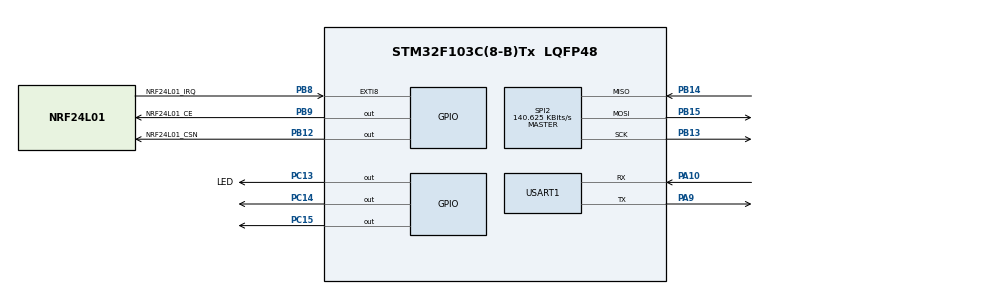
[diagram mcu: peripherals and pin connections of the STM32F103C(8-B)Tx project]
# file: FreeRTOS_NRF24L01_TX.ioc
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FREERTOS.Tasks01=defaultTask,24,128,StartDefaultTask,Default,NULL,Dynamic,NULL,NULL
FREERTOS.configENABLE_BACKWARD_COMPATIBILITY=0
FREERTOS.configGENERATE_RUN_TIME_STATS=1
FREERTOS.configRECORD_STACK_HIGH_ADDRESS=1
FREERTOS.configUSE_NEWLIB_REENTRANT=1
FREERTOS.configUSE_STATS_FORMATTING_FUNCTIONS=0
FREERTOS.configUSE_TICKLESS_IDLE=2
Mcu.Family=STM32F1
Mcu.Name=STM32F103C(8-B)Tx
Mcu.Package=LQFP48
NVIC.EXTI9_5_IRQn=true\:5\:0\:false\:false\:true\:true\:true\:true
NVIC.PriorityGroup=NVIC_PRIORITYGROUP_4
NVIC.TIM1_UP_IRQn=true\:0\:0\:false\:false\:true\:false\:false\:true
NVIC.TimeBase=TIM1_UP_IRQn
NVIC.TimeBaseIP=TIM1
PA10.Mode=Asynchronous
PA10.Signal=USART1_RX
PA13.Mode=Trace_Asynchronous_SW
PA13.Signal=SYS_JTMS-SWDIO
PA14.Mode=Trace_Asynchronous_SW
PA14.Signal=SYS_JTCK-SWCLK
PA9.Mode=Asynchronous
PA9.Signal=USART1_TX
PB12.GPIO_Label=NRF24L01_CSN
PB12.PinState=GPIO_PIN_SET
PB12.Signal=GPIO_Output
PB13.Mode=Full_Duplex_Master
PB13.Signal=SPI2_SCK
PB14.Mode=Full_Duplex_Master
PB14.Signal=SPI2_MISO
PB15.Mode=Full_Duplex_Master
PB15.Signal=SPI2_MOSI
PB3.Mode=Trace_Asynchronous_SW
PB3.Signal=SYS_JTDO-TRACESWO
PB8.GPIO_Label=NRF24L01_IRQ
PB8.GPIO_ModeDefaultEXTI=GPIO_MODE_IT_FALLING
PB8.Signal=GPXTI8
PB9.GPIO_Label=NRF24L01_CE
PB9.GPIO_Speed=GPIO_SPEED_FREQ_MEDIUM
PB9.PinState=GPIO_PIN_RESET
PB9.Signal=GPIO_Output
PC13-TAMPER-RTC.GPIO_Label=LED
PC13-TAMPER-RTC.PinState=GPIO_PIN_RESET
PC13-TAMPER-RTC.Signal=GPIO_Output
PC14-OSC32_IN.Signal=GPIO_Output
PC15-OSC32_OUT.Signal=GPIO_Output
PD0-OSC_IN.Mode=HSE-External-Oscillator
PD0-OSC_IN.Signal=RCC_OSC_IN
PD1-OSC_OUT.Mode=HSE-External-Oscillator
PD1-OSC_OUT.Signal=RCC_OSC_OUT
ProjectManager.HeapSize=0x200
ProjectManager.StackSize=0x400
ProjectManager.TargetToolchain=STM32CubeIDE
RCC.AHBFreq_Value=72000000
RCC.APB1CLKDivider=RCC_HCLK_DIV2
RCC.APB1Freq_Value=36000000
RCC.APB1TimFreq_Value=72000000
RCC.APB2Freq_Value=72000000
RCC.APB2TimFreq_Value=72000000
RCC.HCLKFreq_Value=72000000
RCC.PLLMUL=RCC_PLL_MUL9
RCC.PLLSourceVirtual=RCC_PLLSOURCE_HSE
RCC.SYSCLKFreq_VALUE=72000000
RCC.SYSCLKSource=RCC_SYSCLKSOURCE_PLLCLK
RCC.USBFreq_Value=72000000
SPI2.BaudRatePrescaler=SPI_BAUDRATEPRESCALER_256
SPI2.CalculateBaudRate=140.625 KBits/s
SPI2.Direction=SPI_DIRECTION_2LINES
SPI2.Mode=SPI_MODE_MASTER
SPI2.VirtualType=VM_MASTER
USART1.VirtualMode=VM_ASYNC
VP_FREERTOS_VS_CMSIS_V2.Mode=CMSIS_V2
VP_SYS_VS_tim1.Mode=TIM1
board=custom

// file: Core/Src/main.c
/* USER CODE BEGIN Header */
/**
  ******************************************************************************
  * @file           : main.c
  * @brief          : Main program body
  ******************************************************************************
  * @attention
  *
  * <h2><center>&copy; Copyright (c) 2020 STMicroelectronics.
  * All rights reserved.</center></h2>
  *
  * This software component is licensed by ST under BSD 3-Clause license,
  * the "License"; You may not use this file except in compliance with the
  * License. You may obtain a copy of the License at:
  *                        opensource.org/licenses/BSD-3-Clause
  *
  ******************************************************************************
  */
/* USER CODE END Header */

#include "main.h"
#include "cmsis_os.h"

/* Definitions for defaultTask */
osThreadId_t defaultTaskHandle;
const osThreadAttr_t defaultTask_attributes = {
  .name = "defaultTask",
  .priority = (osPriority_t) osPriorityNormal,
  .stack_size = 128 * 4
};

void SystemClock_Config(void);
static void MX_GPIO_Init(void);
static void MX_SPI2_Init(void);
static void MX_USART1_UART_Init(void);
void StartDefaultTask(void *argument);

int main(void)
{

  /* MCU Configuration--------------------------------------------------------*/

  /* Reset of all peripherals, Initializes the Flash interface and the Systick. */
  HAL_Init();

  /* Configure the system clock */
  SystemClock_Config();

  /* USER CODE BEGIN SysInit */
  extern void rtos_init(void);
  rtos_init();

  /* USER CODE END SysInit */

  /* Initialize all configured peripherals */
  MX_GPIO_Init();
  MX_SPI2_Init();
  MX_USART1_UART_Init();

  /* Init scheduler */
  osKernelInitialize();

  /* Create the thread(s) */
  /* creation of defaultTask */
  defaultTaskHandle = osThreadNew(StartDefaultTask, NULL, &defaultTask_attributes);

  /* Start scheduler */
  osKernelStart();

  /* We should never get here as control is now taken by the scheduler */
  /* Infinite loop */
  while (1)
  {

  }
}

void SystemClock_Config(void)
{
  LL_FLASH_SetLatency(LL_FLASH_LATENCY_2);

   if(LL_FLASH_GetLatency() != LL_FLASH_LATENCY_2)
  {
    Error_Handler();
  }
  LL_RCC_HSE_Enable();

   /* Wait till HSE is ready */
  while(LL_RCC_HSE_IsReady() != 1)
  {

  }
  LL_RCC_PLL_ConfigDomain_SYS(LL_RCC_PLLSOURCE_HSE_DIV_1, LL_RCC_PLL_MUL_9);
  LL_RCC_PLL_Enable();

   /* Wait till PLL is ready */
  while(LL_RCC_PLL_IsReady() != 1)
  {

  }
  LL_RCC_SetAHBPrescaler(LL_RCC_SYSCLK_DIV_1);
  LL_RCC_SetAPB1Prescaler(LL_RCC_APB1_DIV_2);
  LL_RCC_SetAPB2Prescaler(LL_RCC_APB2_DIV_1);
  LL_RCC_SetSysClkSource(LL_RCC_SYS_CLKSOURCE_PLL);

   /* Wait till System clock is ready */
  while(LL_RCC_GetSysClkSource() != LL_RCC_SYS_CLKSOURCE_STATUS_PLL)
  {

  }
  LL_SetSystemCoreClock(72000000);

   /* Update the time base */
  if (HAL_InitTick (TICK_INT_PRIORITY) != HAL_OK)
  {
    Error_Handler();
  };
}

static void MX_SPI2_Init(void)
{

  LL_SPI_InitTypeDef SPI_InitStruct = {0};

  LL_GPIO_InitTypeDef GPIO_InitStruct = {0};

  /* Peripheral clock enable */
  LL_APB1_GRP1_EnableClock(LL_APB1_GRP1_PERIPH_SPI2);

  LL_APB2_GRP1_EnableClock(LL_APB2_GRP1_PERIPH_GPIOB);
  /**SPI2 GPIO Configuration
  PB13   ------> SPI2_SCK
  PB14   ------> SPI2_MISO
  PB15   ------> SPI2_MOSI
  */
  GPIO_InitStruct.Pin = LL_GPIO_PIN_13|LL_GPIO_PIN_15;
  GPIO_InitStruct.Mode = LL_GPIO_MODE_ALTERNATE;
  GPIO_InitStruct.Speed = LL_GPIO_SPEED_FREQ_HIGH;
  GPIO_InitStruct.OutputType = LL_GPIO_OUTPUT_PUSHPULL;
  LL_GPIO_Init(GPIOB, &GPIO_InitStruct);

  GPIO_InitStruct.Pin = LL_GPIO_PIN_14;
  GPIO_InitStruct.Mode = LL_GPIO_MODE_FLOATING;
  LL_GPIO_Init(GPIOB, &GPIO_InitStruct);

  /* SPI2 parameter configuration*/
  SPI_InitStruct.TransferDirection = LL_SPI_FULL_DUPLEX;
  SPI_InitStruct.Mode = LL_SPI_MODE_MASTER;
  SPI_InitStruct.DataWidth = LL_SPI_DATAWIDTH_8BIT;
  SPI_InitStruct.ClockPolarity = LL_SPI_POLARITY_LOW;
  SPI_InitStruct.ClockPhase = LL_SPI_PHASE_1EDGE;
  SPI_InitStruct.NSS = LL_SPI_NSS_SOFT;
  SPI_InitStruct.BaudRate = LL_SPI_BAUDRATEPRESCALER_DIV256;
  SPI_InitStruct.BitOrder = LL_SPI_MSB_FIRST;
  SPI_InitStruct.CRCCalculation = LL_SPI_CRCCALCULATION_DISABLE;
  SPI_InitStruct.CRCPoly = 10;
  LL_SPI_Init(SPI2, &SPI_InitStruct);

}

static void MX_USART1_UART_Init(void)
{

  LL_USART_InitTypeDef USART_InitStruct = {0};

  LL_GPIO_InitTypeDef GPIO_InitStruct = {0};

  /* Peripheral clock enable */
  LL_APB2_GRP1_EnableClock(LL_APB2_GRP1_PERIPH_USART1);

  LL_APB2_GRP1_EnableClock(LL_APB2_GRP1_PERIPH_GPIOA);
  /**USART1 GPIO Configuration
  PA9   ------> USART1_TX
  PA10   ------> USART1_RX
  */
  GPIO_InitStruct.Pin = LL_GPIO_PIN_9;
  GPIO_InitStruct.Mode = LL_GPIO_MODE_ALTERNATE;
  GPIO_InitStruct.Speed = LL_GPIO_SPEED_FREQ_HIGH;
  GPIO_InitStruct.OutputType = LL_GPIO_OUTPUT_PUSHPULL;
  LL_GPIO_Init(GPIOA, &GPIO_InitStruct);

  GPIO_InitStruct.Pin = LL_GPIO_PIN_10;
  GPIO_InitStruct.Mode = LL_GPIO_MODE_FLOATING;
  LL_GPIO_Init(GPIOA, &GPIO_InitStruct);

  USART_InitStruct.BaudRate = 115200;
  USART_InitStruct.DataWidth = LL_USART_DATAWIDTH_8B;
  USART_InitStruct.StopBits = LL_USART_STOPBITS_1;
  USART_InitStruct.Parity = LL_USART_PARITY_NONE;
  USART_InitStruct.TransferDirection = LL_USART_DIRECTION_TX_RX;
  USART_InitStruct.HardwareFlowControl = LL_USART_HWCONTROL_NONE;
  USART_InitStruct.OverSampling = LL_USART_OVERSAMPLING_16;
  LL_USART_Init(USART1, &USART_InitStruct);
  LL_USART_ConfigAsyncMode(USART1);
  LL_USART_Enable(USART1);

}

static void MX_GPIO_Init(void)
{
  LL_EXTI_InitTypeDef EXTI_InitStruct = {0};
  LL_GPIO_InitTypeDef GPIO_InitStruct = {0};

  /* GPIO Ports Clock Enable */
  LL_APB2_GRP1_EnableClock(LL_APB2_GRP1_PERIPH_GPIOC);
  LL_APB2_GRP1_EnableClock(LL_APB2_GRP1_PERIPH_GPIOD);
  LL_APB2_GRP1_EnableClock(LL_APB2_GRP1_PERIPH_GPIOB);
  LL_APB2_GRP1_EnableClock(LL_APB2_GRP1_PERIPH_GPIOA);

  /**/
  LL_GPIO_ResetOutputPin(GPIOC, LED_Pin|LL_GPIO_PIN_14|LL_GPIO_PIN_15);

  /**/
  LL_GPIO_ResetOutputPin(NRF24L01_CE_GPIO_Port, NRF24L01_CE_Pin);

  /**/
  LL_GPIO_SetOutputPin(NRF24L01_CSN_GPIO_Port, NRF24L01_CSN_Pin);

  /**/
  GPIO_InitStruct.Pin = LED_Pin|LL_GPIO_PIN_14|LL_GPIO_PIN_15;
  GPIO_InitStruct.Mode = LL_GPIO_MODE_OUTPUT;
  GPIO_InitStruct.Speed = LL_GPIO_SPEED_FREQ_LOW;
  GPIO_InitStruct.OutputType = LL_GPIO_OUTPUT_PUSHPULL;
  LL_GPIO_Init(GPIOC, &GPIO_InitStruct);

  /**/
  GPIO_InitStruct.Pin = NRF24L01_CSN_Pin;
  GPIO_InitStruct.Mode = LL_GPIO_MODE_OUTPUT;
  GPIO_InitStruct.Speed = LL_GPIO_SPEED_FREQ_LOW;
  GPIO_InitStruct.OutputType = LL_GPIO_OUTPUT_PUSHPULL;
  LL_GPIO_Init(NRF24L01_CSN_GPIO_Port, &GPIO_InitStruct);

  /**/
  GPIO_InitStruct.Pin = NRF24L01_CE_Pin;
  GPIO_InitStruct.Mode = LL_GPIO_MODE_OUTPUT;
  GPIO_InitStruct.Speed = LL_GPIO_SPEED_FREQ_MEDIUM;
  GPIO_InitStruct.OutputType = LL_GPIO_OUTPUT_PUSHPULL;
  LL_GPIO_Init(NRF24L01_CE_GPIO_Port, &GPIO_InitStruct);

  /**/
  LL_GPIO_AF_SetEXTISource(LL_GPIO_AF_EXTI_PORTB, LL_GPIO_AF_EXTI_LINE8);

  /**/
  EXTI_InitStruct.Line_0_31 = LL_EXTI_LINE_8;
  EXTI_InitStruct.LineCommand = ENABLE;
  EXTI_InitStruct.Mode = LL_EXTI_MODE_IT;
  EXTI_InitStruct.Trigger = LL_EXTI_TRIGGER_FALLING;
  LL_EXTI_Init(&EXTI_InitStruct);

  /**/
  LL_GPIO_SetPinMode(NRF24L01_IRQ_GPIO_Port, NRF24L01_IRQ_Pin, LL_GPIO_MODE_FLOATING);

  /* EXTI interrupt init*/
  NVIC_SetPriority(EXTI9_5_IRQn, NVIC_EncodePriority(NVIC_GetPriorityGrouping(),5, 0));
  NVIC_EnableIRQ(EXTI9_5_IRQn);

}

void StartDefaultTask(void *argument)
{
  /* USER CODE BEGIN 5 */
  extern int frtos_start(void);
  frtos_start();

  osThreadExit();
  /* USER CODE END 5 */
}

 /**
  * @brief  Period elapsed callback in non blocking mode
  * @note   This function is called  when TIM1 interrupt took place, inside
  * HAL_TIM_IRQHandler(). It makes a direct call to HAL_IncTick() to increment
  * a global variable "uwTick" used as application time base.
  * @param  htim : TIM handle
  * @retval None
  */
void HAL_TIM_PeriodElapsedCallback(TIM_HandleTypeDef *htim)
{
  if (htim->Instance == TIM1) {
    HAL_IncTick();
  }
}

void Error_Handler(void)
{
}

/************************ (C) COPYRIGHT STMicroelectronics *****END OF FILE****/

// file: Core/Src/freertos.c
/* USER CODE BEGIN Header */
/**
  ******************************************************************************
  * File Name          : freertos.c
  * Description        : Code for freertos applications
  ******************************************************************************
  * @attention
  *
  * <h2><center>&copy; Copyright (c) 2020 STMicroelectronics.
  * All rights reserved.</center></h2>
  *
  * This software component is licensed by ST under Ultimate Liberty license
  * SLA0044, the "License"; You may not use this file except in compliance with
  * the License. You may obtain a copy of the License at:
  *                             www.st.com/SLA0044
  *
  ******************************************************************************
  */
/* USER CODE END Header */

#include "FreeRTOS.h"
#include "task.h"
#include "main.h"

/* USER CODE BEGIN Includes */
#include <driver/serial.h>
#include <console.h>
#include <shell.h>
#include <lib/nrf24l01.h>
/* USER CODE END Includes */

/* USER CODE BEGIN FunctionPrototypes */
void frtos_delay_ms(unsigned int delay_ms)
{
	TickType_t delay_ticks = delay_ms * configTICK_RATE_HZ / 1000;

	vTaskDelay(delay_ticks);
}

TIM_HandleTypeDef htim4;
extern volatile unsigned long ulHighFrequencyTimerTicks;

void SetupRunTimeStatsTimer(void)
{
	RCC_ClkInitTypeDef    clkconfig;
	uint32_t              pFLatency;
	uint32_t              uwTimclock;
	uint32_t              uwPrescalerValue;

	/* Configure the TIM4 IRQ priority */
	HAL_NVIC_SetPriority(TIM4_IRQn, 10, 0);

	/* Enable the TIM4 global Interrupt */
	HAL_NVIC_EnableIRQ(TIM4_IRQn);

	/* Enable TIM4 clock */
	__HAL_RCC_TIM4_CLK_ENABLE();

	/* Get clock configuration */
	HAL_RCC_GetClockConfig(&clkconfig, &pFLatency);

	/* Compute TIM4 clock */
	uwTimclock = 2*HAL_RCC_GetPCLK1Freq();

	/* Compute the prescaler value to have TIM4 counter clock equal to 1MHz */
	uwPrescalerValue = (uint32_t) ((uwTimclock / 1000000) - 1);

	/* Initialize TIM4 */
	htim4.Instance = TIM4;

	/* Initialize TIMx peripheral as follow:
	+ Period = [(TIM1CLK/1000) - 1]. to have a (1/1000) s time base.
	+ Prescaler = (uwTimclock/1000000 - 1) to have a 1MHz counter clock.
	+ ClockDivision = 0
	+ Counter direction = Up
	*/
	htim4.Init.Period = (1000000 / 1000) - 1;
	htim4.Init.Prescaler = uwPrescalerValue;
	htim4.Init.ClockDivision = 0;
	htim4.Init.CounterMode = TIM_COUNTERMODE_UP;
	if(HAL_TIM_Base_Init(&htim4) == HAL_OK)
	{
		/* Start the TIM time Base generation in interrupt mode */
		HAL_TIM_Base_Start_IT(&htim4);
	}
}

/* USER CODE END FunctionPrototypes */

/* Hook prototypes */
void configureTimerForRunTimeStats(void);
unsigned long getRunTimeCounterValue(void);

/* USER CODE BEGIN 1 */
/* Functions needed when configGENERATE_RUN_TIME_STATS is on */
__weak void configureTimerForRunTimeStats(void)
{
	SetupRunTimeStatsTimer();
}

__weak unsigned long getRunTimeCounterValue(void)
{
	return ulHighFrequencyTimerTicks;
}
/* USER CODE END 1 */

/* USER CODE BEGIN VPORT_SUPPORT_TICKS_AND_SLEEP */
__weak void vPortSuppressTicksAndSleep( TickType_t xExpectedIdleTime )
{
  // Generated when configUSE_TICKLESS_IDLE == 2.
  // Function called in tasks.c (in portTASK_FUNCTION).
  // TO BE COMPLETED or TO BE REPLACED by a user one, overriding that weak one.
}
/* USER CODE END VPORT_SUPPORT_TICKS_AND_SLEEP */

/* USER CODE BEGIN Application */

int __io_putchar(int ch)
{
#if 0
    ITM_SendChar(ch);
    return(ch);
#else
    LL_USART_TransmitData8(USART1, ch);
    while (!LL_USART_IsActiveFlag_TXE(USART1)) {};
    return(ch);
#endif
}

void nrf24l01_irq_callback(void)
{
	//uint8_t data;

	// read the data from the radio chip
	//(void)nrf24l01_read_rx_payload((uint8_t *)&data, 1U);

	// acknowledge the interrupt on the radio chip
	//nrf24l01_irq_clear_all();

	LL_GPIO_TogglePin(LED_GPIO_Port, LED_Pin);
}

void frtos_task_rf(void *arg);
void frtos_task_bt(void *arg);
void frtos_task_rt(void *arg);

TaskHandle_t h_task_rf;
TaskHandle_t h_task_bt;
TaskHandle_t h_task_rt;

int frtos_start(void)
{
	int retval = 0;

	LL_GPIO_SetOutputPin(LED_GPIO_Port, LED_Pin);

	static struct serial_desc s_serial;
	uint32_t config = SERIAL_BR_TO_CONFIG(115200) |
			          SERIAL_CONFIG_TO_WL(SERIAL_WORD_LENGTH__8) |
					  SERIAL_SB_TO_CONFIG(SERIAL_STOP_BITS__1) |
					  SERIAL_PB_TO_CONFIG(SERIAL_PARITY__NONE);

	dm_serial_init(&s_serial, SERIAL_PORT__TTYS0, DM_DRIVER_ID__STM32F10X_UART);
	dm_serial_setconfig(&s_serial, config);
	console_init();
	console_attach(CONSOLE_ATTACH_DM_DEVICE(&s_serial));
	console_enable();

#if 1
	if (xTaskCreate((TaskFunction_t)frtos_task_rf, "RF", 256, NULL, 15, &h_task_rf) != pdPASS) {

	}
#endif
#if 0
	if (xTaskCreate((TaskFunction_t)frtos_task_bt, "BT", 256, NULL, 14, &h_task_bt) != pdPASS) {

	}
#endif
#if 1
	if (xTaskCreate((TaskFunction_t)frtos_task_rt, "RT", 256, NULL, 16, &h_task_rt) != pdPASS) {

	}
#endif

	return retval;
}

void frtos_task_rf(void *arg)
{
	uint8_t data = 0x55;

	// Power on delay
	nrf24l01_port_delay_us(NRF24L01_PORT_DELAY_POWER_ON_RESET_US);

	// Set into default state
	nrf24l01_power_down();

	// Set as transmitter
	nrf24l01_initialize_debug(false, 1, false);

	for(;;) {
		frtos_delay_ms(1000);

		nrf24l01_write_tx_payload(&data, 1U, true); // transmit a byte over rf

		for (uint8_t tries = 0U; tries < 50U; tries++)
		{
			  // check to see if the data has been sent
			  if (nrf24l01_irq_pin_active() && nrf24l01_irq_tx_ds_active())
			  {
					// data sent, no more tries
					break;
			  }
		}

		nrf24l01_flush_tx();					// make sure everything is sent by rf module
		nrf24l01_irq_clear_all(); 				// clear rf module interrupts
	}
}

void frtos_task_bt(void *arg)
{
	shell();
}

/* This example demonstrates how a human readable table of run time stats
information is generated from raw data provided by uxTaskGetSystemState().
The human readable table is written to pcWriteBuffer.  (see the vTaskList()
API function which actually does just this). */
void frtos_print_run_time_stats(void)
{
	TaskStatus_t *pxTaskStatusArray;
	volatile UBaseType_t uxArraySize, x;
	unsigned long ulTotalRunTime, ulStatsAsPercentage;

	/* Take a snapshot of the number of tasks in case it changes while this
	function is executing. */
	uxArraySize = uxTaskGetNumberOfTasks();

	/* Allocate a TaskStatus_t structure for each task.  An array could be
	allocated statically at compile time. */
	pxTaskStatusArray = pvPortMalloc( uxArraySize * sizeof( TaskStatus_t ) );

	if( pxTaskStatusArray != NULL )
	{
		/* Generate raw status information about each task. */
		uxArraySize = uxTaskGetSystemState( pxTaskStatusArray,
								 uxArraySize,
								 &ulTotalRunTime );

		/* For percentage calculations. */
		ulTotalRunTime /= 100UL;

		console_puts("Name:\t\tState:\tPrio:\tStack:\tRun:\t%:\t" CONFIG_CONSOLE_LINE_ENDING_STRING);

		/* Avoid divide by zero errors. */
		if( ulTotalRunTime > 0 )
		{
			/* For each populated position in the pxTaskStatusArray array,
			format the raw data as human readable ASCII data. */
			for( x = 0; x < uxArraySize; x++ )
			{
				/* Name */
				console_puts(pxTaskStatusArray[ x ].pcTaskName);
				console_puts("\t\t");

				/* State */
				switch( pxTaskStatusArray[ x ].eCurrentState )
				{
					case eRunning:		console_putc('X');
										break;

					case eReady:		console_putc('R');
										break;

					case eBlocked:		console_putc('B');
										break;

					case eSuspended:	console_putc('S');
										break;

					case eDeleted:		console_putc('D');
										break;

					default:			/* Should not get here, but it is included
										to prevent static checking errors. */
										console_putc(' ');
										break;
				}
				console_puts("\t(");

				/* Prio */
				console_puti(pxTaskStatusArray[ x ].uxCurrentPriority, 10);
				console_putc(' ');
				console_puti(pxTaskStatusArray[ x ].uxBasePriority, 10);
				console_puts(")\t");

				/* Stack */
				console_puti(pxTaskStatusArray[ x ].usStackHighWaterMark, 10);
				console_puts("\t");

				/* What percentage of the total run time has the task used?
				This will always be rounded down to the nearest integer.
				ulTotalRunTimeDiv100 has already been divided by 100. */
				ulStatsAsPercentage =
					  pxTaskStatusArray[ x ].ulRunTimeCounter / ulTotalRunTime;

				if( ulStatsAsPercentage > 0UL )
				{
					console_puti(pxTaskStatusArray[ x ].ulRunTimeCounter, 10);
					console_puts("\t");
					console_puti(ulStatsAsPercentage, 10);
					console_puts("%" CONFIG_CONSOLE_LINE_ENDING_STRING);
				}
				else
				{
					/* If the percentage is zero here then the task has
					consumed less than 1% of the total run time. */
					console_puti(pxTaskStatusArray[ x ].ulRunTimeCounter, 10);
					console_puts("\t<1%" CONFIG_CONSOLE_LINE_ENDING_STRING);
				}
			}
		}

		/* The array is no longer needed, free the memory it consumes. */
		vPortFree( pxTaskStatusArray );
	}
}

void frtos_task_rt(void *arg)
{
	while (1) {
		frtos_delay_ms(5000);
		frtos_print_run_time_stats();
	}
}

/* USER CODE END Application */

/************************ (C) COPYRIGHT STMicroelectronics *****END OF FILE****/
